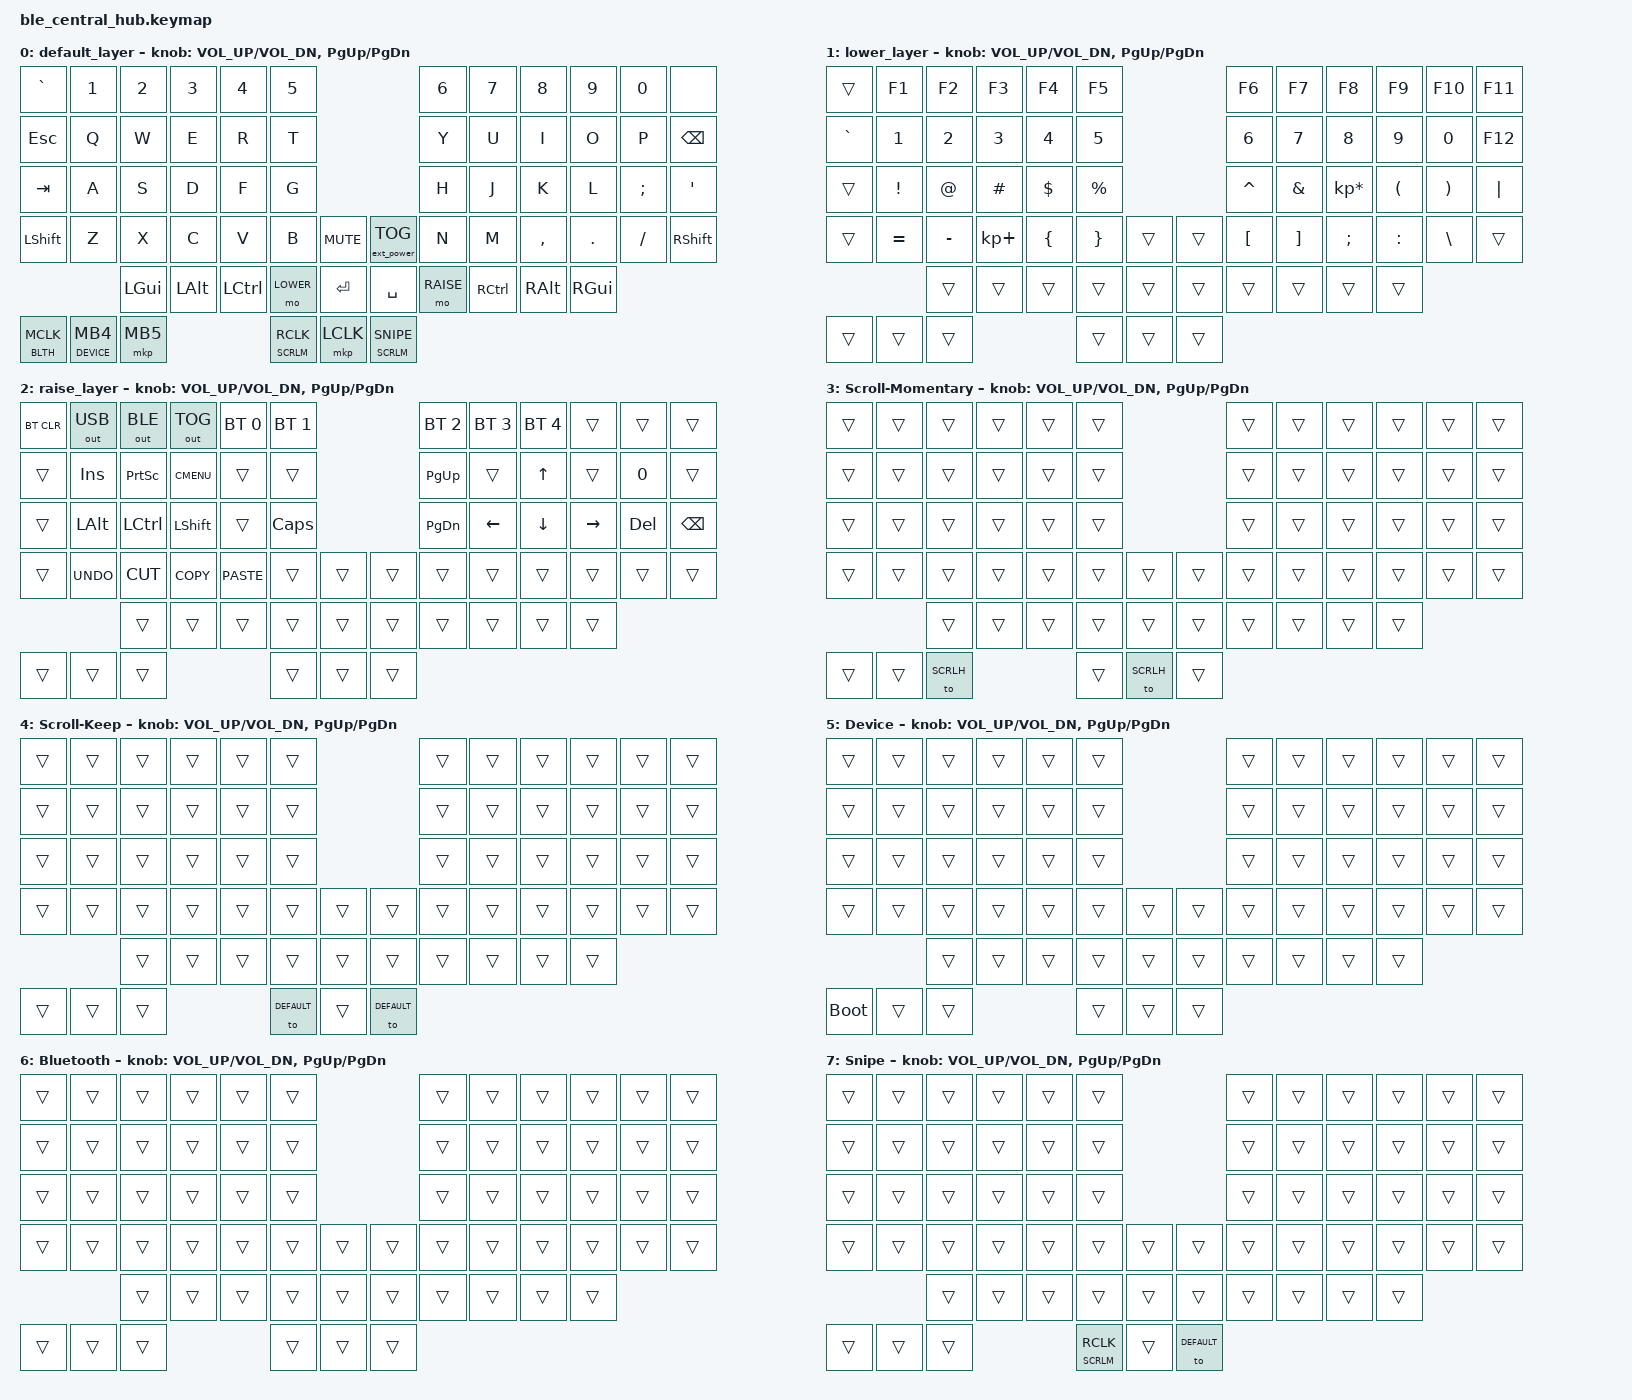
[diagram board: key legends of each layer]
/*
 * Copyright (c) 2020 The ZMK Contributors
 *
 * SPDX-License-Identifier: MIT
 */

#include <behaviors.dtsi>
#include <dt-bindings/zmk/keys.h>
#include <dt-bindings/zmk/bt.h>
#include <dt-bindings/zmk/outputs.h>
#include <dt-bindings/zmk/ext_power.h>
#include <dt-bindings/zmk/pointing.h>
#include <input/processors.dtsi>

// Layer indices shared by sofle and adeptble
#define DEFAULT 0
#define LOWER   1
#define RAISE   2
#define SCRLM   3
#define SCRLH   4
#define DEVICE  5
#define BLTH    6
#define SNIPE   7

/ {
    behaviors {
        ltm: layer-tap-momentary {
            compatible = "zmk,behavior-hold-tap";
            #binding-cells = <2>;
            flavor = "tap-preferred";
            tapping-term-ms = <200>;
            bindings = <&mo>, <&mkp>;
        };
        lth: layer-tap-hold-while-undecided {
            compatible = "zmk,behavior-hold-tap";
            #binding-cells = <2>;
            flavor = "hold-preferred";
            hold-while-undecided;
            tapping-term-ms = <150>;
            bindings = <&mo>, <&mkp>;
        };
        mto: momentary-or-toggle {
            compatible = "zmk,behavior-hold-tap";
            #binding-cells = <2>;
            flavor = "hold-preferred";
            hold-while-undecided;
            tapping-term-ms = <200>;
            bindings = <&mo>, <&to>;
        };
    };

    keymap {
        compatible = "zmk,keymap";

        // Each layer: 60 sofle bindings + 6 adeptble bindings (positions 60-65)

        default_layer {
            bindings = <
&kp GRAVE &kp N1 &kp N2   &kp N3   &kp N4    &kp N5                              &kp N6 &kp N7    &kp N8    &kp N9   &kp N0   &none
&kp ESC   &kp Q  &kp W    &kp E    &kp R     &kp T                               &kp Y  &kp U     &kp I     &kp O    &kp P    &kp BSPC
&kp TAB   &kp A  &kp S    &kp D    &kp F     &kp G                               &kp H  &kp J     &kp K     &kp L    &kp SEMI &kp SQT
&kp LSHFT &kp Z  &kp X    &kp C    &kp V     &kp B  &kp C_MUTE &ext_power EP_TOG &kp N  &kp M     &kp COMMA &kp DOT  &kp FSLH &kp RSHFT
                 &kp LGUI &kp LALT &kp LCTRL &mo LOWER &kp RET  &kp SPACE  &mo RAISE &kp RCTRL &kp RALT &kp RGUI
&ltm BLTH MCLK &ltm DEVICE MB4 &mkp MB5 &lth SCRLM RCLK &mkp LCLK &mto SCRLM SNIPE
            >;
            sensor-bindings = <&inc_dec_kp C_VOL_UP C_VOL_DN &inc_dec_kp PG_UP PG_DN>;
        };

        lower_layer {
            bindings = <
&trans    &kp F1    &kp F2    &kp F3      &kp F4    &kp F5                    &kp F6    &kp F7   &kp F8          &kp F9    &kp F10   &kp F11
&kp GRAVE &kp N1    &kp N2    &kp N3      &kp N4    &kp N5                    &kp N6    &kp N7   &kp N8          &kp N9    &kp N0    &kp F12
&trans    &kp EXCL  &kp AT    &kp HASH    &kp DLLR  &kp PRCNT                 &kp CARET &kp AMPS &kp KP_MULTIPLY &kp LPAR  &kp RPAR  &kp PIPE
&trans    &kp EQUAL &kp MINUS &kp KP_PLUS &kp LBRC  &kp RBRC  &trans   &trans &kp LBKT  &kp RBKT &kp SEMI        &kp COLON &kp BSLH  &trans
                    &trans    &trans      &trans    &trans    &trans   &trans &trans    &trans   &trans          &trans
&trans &trans &trans &trans &trans &trans
            >;
            sensor-bindings = <&inc_dec_kp C_VOL_UP C_VOL_DN &inc_dec_kp PG_UP PG_DN>;
        };

        raise_layer {
            bindings = <
&bt BT_CLR &out OUT_USB &out OUT_BLE &out OUT_TOG &bt BT_SEL 0 &bt BT_SEL 1                   &bt BT_SEL 2 &bt BT_SEL 3 &bt BT_SEL 4 &trans &trans &trans
&trans     &kp INS      &kp PSCRN    &kp K_CMENU  &trans       &trans                          &kp PG_UP    &trans       &kp UP       &trans &kp N0 &trans
&trans     &kp LALT     &kp LCTRL    &kp LSHFT    &trans       &kp CLCK                        &kp PG_DN    &kp LEFT     &kp DOWN     &kp RIGHT &kp DEL &kp BSPC
&trans     &kp K_UNDO   &kp K_CUT    &kp K_COPY   &kp K_PASTE  &trans   &trans   &trans        &trans       &trans       &trans       &trans &trans  &trans
                        &trans       &trans       &trans       &trans   &trans   &trans         &trans       &trans       &trans       &trans
&trans &trans &trans &trans &trans &trans
            >;
            sensor-bindings = <&inc_dec_kp C_VOL_UP C_VOL_DN &inc_dec_kp PG_UP PG_DN>;
        };

        scrlm_layer {
            display-name = "Scroll-Momentary";
            bindings = <
&trans &trans &trans &trans &trans &trans &trans &trans &trans &trans &trans &trans
&trans &trans &trans &trans &trans &trans &trans &trans &trans &trans &trans &trans
&trans &trans &trans &trans &trans &trans &trans &trans &trans &trans &trans &trans
&trans &trans &trans &trans &trans &trans &trans &trans &trans &trans &trans &trans &trans &trans
              &trans &trans &trans &trans &trans &trans &trans &trans &trans &trans
&trans &trans &to SCRLH &trans &to SCRLH &trans
            >;
            sensor-bindings = <&inc_dec_kp C_VOL_UP C_VOL_DN &inc_dec_kp PG_UP PG_DN>;
        };

        scrlh_layer {
            display-name = "Scroll-Keep";
            bindings = <
&trans &trans &trans &trans &trans &trans &trans &trans &trans &trans &trans &trans
&trans &trans &trans &trans &trans &trans &trans &trans &trans &trans &trans &trans
&trans &trans &trans &trans &trans &trans &trans &trans &trans &trans &trans &trans
&trans &trans &trans &trans &trans &trans &trans &trans &trans &trans &trans &trans &trans &trans
              &trans &trans &trans &trans &trans &trans &trans &trans &trans &trans
&trans &trans &trans &to DEFAULT &trans &to DEFAULT
            >;
            sensor-bindings = <&inc_dec_kp C_VOL_UP C_VOL_DN &inc_dec_kp PG_UP PG_DN>;
        };

        device_layer {
            display-name = "Device";
            bindings = <
&trans &trans &trans &trans &trans &trans &trans &trans &trans &trans &trans &trans
&trans &trans &trans &trans &trans &trans &trans &trans &trans &trans &trans &trans
&trans &trans &trans &trans &trans &trans &trans &trans &trans &trans &trans &trans
&trans &trans &trans &trans &trans &trans &trans &trans &trans &trans &trans &trans &trans &trans
              &trans &trans &trans &trans &trans &trans &trans &trans &trans &trans
&bootloader &trans &trans &trans &trans &trans
            >;
            sensor-bindings = <&inc_dec_kp C_VOL_UP C_VOL_DN &inc_dec_kp PG_UP PG_DN>;
        };

        bluetooth_layer {
            display-name = "Bluetooth";
            bindings = <
&trans &trans &trans &trans &trans &trans &trans &trans &trans &trans &trans &trans
&trans &trans &trans &trans &trans &trans &trans &trans &trans &trans &trans &trans
&trans &trans &trans &trans &trans &trans &trans &trans &trans &trans &trans &trans
&trans &trans &trans &trans &trans &trans &trans &trans &trans &trans &trans &trans &trans &trans
              &trans &trans &trans &trans &trans &trans &trans &trans &trans &trans
&trans &trans &trans &trans &trans &trans
            >;
            sensor-bindings = <&inc_dec_kp C_VOL_UP C_VOL_DN &inc_dec_kp PG_UP PG_DN>;
        };

        snipe_layer {
            display-name = "Snipe";
            bindings = <
&trans &trans &trans &trans &trans &trans &trans &trans &trans &trans &trans &trans
&trans &trans &trans &trans &trans &trans &trans &trans &trans &trans &trans &trans
&trans &trans &trans &trans &trans &trans &trans &trans &trans &trans &trans &trans
&trans &trans &trans &trans &trans &trans &trans &trans &trans &trans &trans &trans &trans &trans
              &trans &trans &trans &trans &trans &trans &trans &trans &trans &trans
&trans &trans &trans &lth SCRLM RCLK &trans &to DEFAULT
            >;
            sensor-bindings = <&inc_dec_kp C_VOL_UP C_VOL_DN &inc_dec_kp PG_UP PG_DN>;
        };
    };
};

#ifdef BLE_CENTRAL_HUB_SETTINGS_RESET
&adeptble_trackball_listener {
    status = "disabled";
};
#else
&adeptble_trackball_listener {
    input-processors = <&zip_xy_swap_mapper>;
};
#endif
